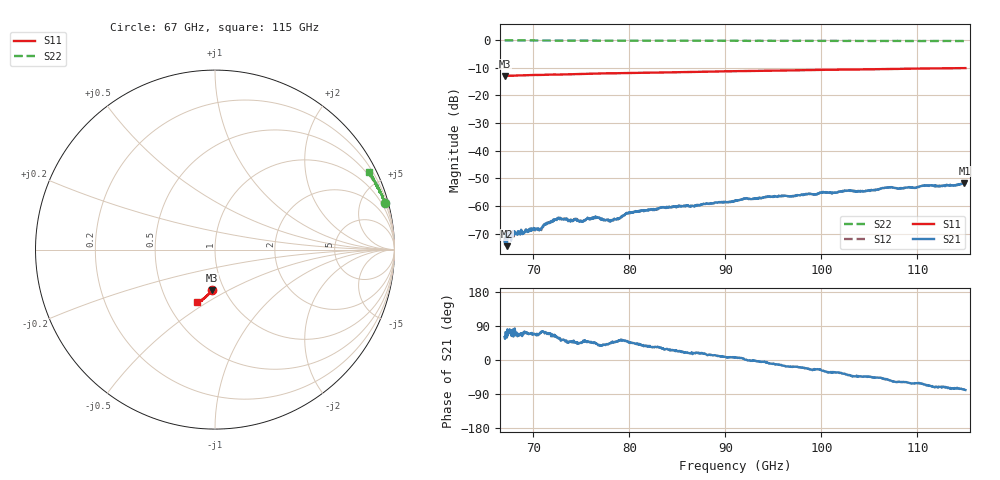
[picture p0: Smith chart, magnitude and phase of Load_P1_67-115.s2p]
!Keysight Technologies,N5247B,MY61256062,A.16.20.04
!Date: Friday, November 28, 2025 08:10:42
!Correction: S11(C  2-Port  )
!S21(C  2-Port  )
!S12(C  2-Port  )
!S22(C  2-Port  )
!S2P File: Measurements: S11, S21, S12, S22:
# Hz S  dB  R 50
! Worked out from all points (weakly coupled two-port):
!   1001 points, 67 GHz to 115 GHz, reference 50 ohm
!   highest |S21| = -51.67 dB at 114.9 GHz (marker M1); lowest = -74.5 dB at 67.24 GHz (marker M2)
!   lowest |S11| = -13.0 dB at 67 GHz (marker M3), VSWR 1.58, Z = 43.8 - j20.7 ohm
!   |S11| at or under -10 dB: start of sweep to end of sweep
!   |S22| runs from -0.4 to -0.1 dB; largest |S21 - S12| = 0.00011
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6.7e10  -12.95 -94.3  -72.50 60.7  -70.96 63.9  -0.14 15.4
6.724e10  -12.92 -94.5  -74.46 59.4  -72.45 70.6  -0.15 15.5
6.796e10  -12.85 -94.9  -69.26 66.8  -70.18 71.3  -0.14 15.6
7.0696e10  -12.59 -95.4  -68.48 70.4  -68.55 69.1  -0.15 16.2
7.132e10  -12.53 -95.5  -66.34 71.3  -66.37 70.6  -0.16 16.3
7.2472e10  -12.48 -96.0  -64.61 59.4  -64.49 60.1  -0.17 16.6
7.5016e10  -12.25 -96.8  -65.36 46.0  -65.60 45.5  -0.20 17.1
7.66e10  -12.08 -97.5  -63.89 42.8  -63.96 39.7  -0.18 17.5
7.8136e10  -12.00 -98.3  -65.19 46.6  -65.20 44.5  -0.19 17.9
7.8952e10  -11.97 -98.4  -64.58 52.4  -64.43 49.5  -0.19 18.1
7.9816e10  -11.91 -98.6  -62.49 47.9  -62.52 47.1  -0.19 18.3
8.3032e10  -11.72 -99.6  -60.74 33.6  -60.88 32.8  -0.21 18.9
9.1e10  -11.22 -102.0  -57.93 6.7  -58.15 5.7  -0.27 20.8
9.2056e10  -11.19 -102.4  -57.22 0.8  -57.18 0.4  -0.24 21.2
9.9016e10  -10.80 -104.3  -55.62 -25.6  -55.66 -26.6  -0.28 22.9
1.02712e11  -10.66 -105.1  -54.45 -39.4  -54.46 -39.3  -0.29 23.7
1.04584e11  -10.57 -105.5  -54.58 -43.7  -54.53 -43.9  -0.32 24.1
1.07032e11  -10.46 -106.7  -53.22 -52.4  -53.17 -53.4  -0.30 25.0
1.0972e11  -10.30 -107.5  -53.40 -60.9  -53.41 -62.4  -0.36 25.5
1.10728e11  -10.29 -107.8  -52.69 -64.7  -52.60 -65.4  -0.32 25.9
1.14904e11  -10.13 -109.1  -51.67 -78.4  -51.73 -79.4  -0.36 26.7
1.15e11  -10.12 -109.2  -51.80 -79.2  -51.75 -80.4  -0.35 26.8
